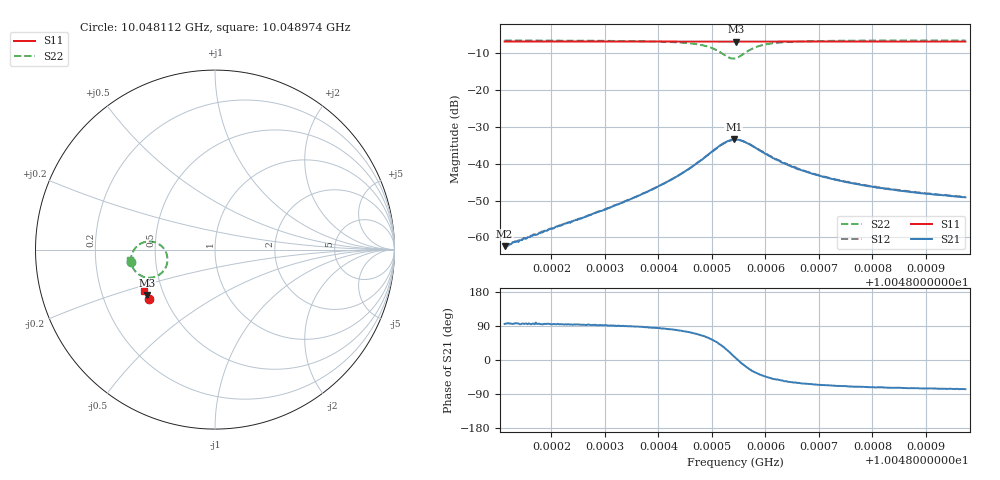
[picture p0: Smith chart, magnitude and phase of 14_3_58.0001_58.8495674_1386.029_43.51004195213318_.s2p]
#  HZ  S  RI  R  50.00
! Rohde & Schwarz Vector Network Analyzer
! Rohde-Schwarz,ZNB20-2Port,1311601062101988,3.16
! Created: UTC 3/21/2024, 12:50:55 AM
! freq[Hz]  re:S11  im:S11  re:S21  im:S21  re:S12  im:S12  re:S22  im:S22
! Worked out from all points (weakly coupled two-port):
!   401 points, 10.048112 GHz to 10.048974 GHz, reference 50 ohm
!   highest |S21| = -33.39 dB at 10.048541 GHz (marker M1); lowest = -62.4 dB at 10.048112 GHz (marker M2)
!   lowest |S11| = -6.8 dB at 10.048545 GHz (marker M3), VSWR 2.68, Z = 20.1 - j12.9 ohm
!   |S11| at or under -10 dB: nowhere
!   |S22| runs from -11.4 to -6.5 dB; largest |S21 - S12| = 0.0019
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1.00481124e10  -0.366 -0.2779  -6.99e-05 0.000757  -0.000145 0.000749  -0.4677 -0.0714
1.00482567e10  -0.3716 -0.2699  -9.25e-05 0.00181  -0.000191 0.00182  -0.4675 -0.0517
1.00483515e10  -0.375 -0.2645  7.59e-05 0.00339  -0.000136 0.00339  -0.4641 -0.0308
1.0048401e10  -0.3769 -0.2616  0.000503 0.00498  0.000272 0.00499  -0.4577 -0.0133
1.00484441e10  -0.3783 -0.2588  0.00172 0.00723  0.00126 0.00733  -0.4432 0.0096
1.00484829e10  -0.3795 -0.2562  0.00511 0.0104  0.00447 0.0107  -0.4059 0.0373
1.00485001e10  -0.3797 -0.255  0.00866 0.0118  0.00781 0.0123  -0.3712 0.0456
1.00485152e10  -0.3799 -0.2541  0.0135 0.0116  0.0124 0.0123  -0.3274 0.0379
1.00485324e10  -0.3797 -0.2535  0.0192 0.00752  0.0185 0.00874  -0.2771 -0.00716
1.0048541e10  -0.3797 -0.2533  0.0211 0.00355  0.0206 0.00511  -0.2655 -0.0447
1.00485432e10  -0.3796 -0.2533  0.0212 0.00261  0.0209 0.00416  -0.2647 -0.0546
1.00485453e10  -0.3797 -0.2533  0.0213 0.00151  0.021 0.00309  -0.2652 -0.0646
1.00485561e10  -0.3802 -0.2532  0.0203 -0.00335  0.0205 -0.00168  -0.2805 -0.1095
1.0048569e10  -0.3809 -0.2531  0.0172 -0.00727  0.0179 -0.00583  -0.3157 -0.1431
1.00485819e10  -0.3817 -0.2526  0.0137 -0.009  0.0145 -0.00806  -0.3514 -0.1555
1.0048597e10  -0.3825 -0.2519  0.0105 -0.00944  0.0113 -0.00881  -0.384 -0.155
1.00486336e10  -0.3843 -0.2498  0.00585 -0.00841  0.00651 -0.00808  -0.4273 -0.1361
1.00486875e10  -0.3863 -0.2465  0.00321 -0.00659  0.00367 -0.00648  -0.4509 -0.1112
1.00487499e10  -0.3886 -0.2429  0.00204 -0.00528  0.00235 -0.00524  -0.4611 -0.0925
1.00488318e10  -0.3915 -0.2381  0.00131 -0.00431  0.00158 -0.00429  -0.4668 -0.0762
1.00488964e10  -0.3936 -0.2344  0.00101 -0.00383  0.00125 -0.00379  -0.4691 -0.0669
1.00489739e10  -0.3962 -0.2299  0.000793 -0.00342  0.00101 -0.00342  -0.4708 -0.0575
